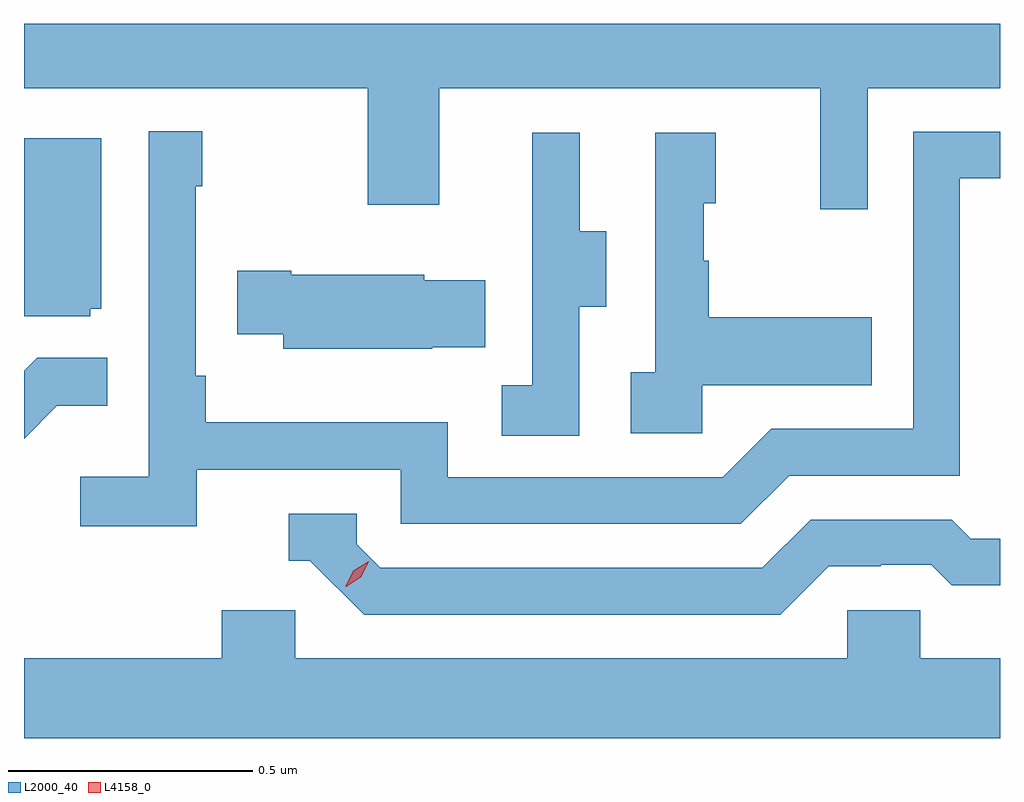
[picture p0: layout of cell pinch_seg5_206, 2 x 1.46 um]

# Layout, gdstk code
import gdstk
lib = gdstk.Library(unit=1e-6, precision=1e-09)
def P(c, l, *ps):  # polygons
    for p in ps: c.add(gdstk.Polygon(p, *l))
L2000_40 = (2000, 40)
L4158_0 = (4158, 0)

pinch_seg5_206 = lib.new_cell('pinch_seg5_206')
P(pinch_seg5_206, L2000_40, [(990.249,915.368),(990.52,915.368),(990.52,915.5),(988.52,915.5),(988.52,915.368),(989.224,915.368),(989.224,915.129),(989.371,915.129),(989.371,915.368),(990.152,915.368),(990.152,915.12),(990.249,915.12)],
  [(988.874,914.586),(989.292,914.586),(989.292,914.475),(989.989,914.475),(990.088,914.574),(990.438,914.574),(990.438,915.183),(990.52,915.183),(990.52,915.279),(990.342,915.279),(990.342,914.67),(990.051,914.67),(989.952,914.571),(989.388,914.571),(989.388,914.683),(988.892,914.683),(988.892,914.779),(988.872,914.779),(988.872,915.167),(988.885,915.167),(988.885,915.28),(988.776,915.28),(988.776,914.572),(988.635,914.572),(988.635,914.47),(988.874,914.47)],
  [(989.658,914.92),(989.713,914.92),(989.713,915.075),(989.659,915.075),(989.659,915.277),(989.561,915.277),(989.561,915.063),(989.562,915.063),(989.562,914.759),(989.499,914.759),(989.499,914.656),(989.658,914.656)],
  [(989.91,914.759),(990.257,914.759),(990.257,914.899),(989.923,914.899),(989.923,915.014),(989.913,915.014),(989.913,915.132),(989.938,915.132),(989.938,915.277),(989.814,915.277),(989.814,914.786),(989.763,914.786),(989.763,914.661),(989.91,914.661)],
  [(988.656,914.916),(988.678,914.916),(988.678,915.265),(988.52,915.265),(988.52,914.901),(988.656,914.901)],
  [(989.357,914.837),(989.465,914.837),(989.465,914.974),(989.34,914.974),(989.34,914.986),(989.068,914.986),(989.068,914.994),(988.957,914.994),(988.957,914.864),(989.051,914.864),(989.051,914.834),(989.357,914.834)],
  [(988.587,914.717),(988.691,914.717),(988.691,914.816),(988.547,914.816),(988.52,914.789),(988.52,914.65)],
  [(990.169,914.388),(990.276,914.388),(990.276,914.391),(990.379,914.391),(990.421,914.349),(990.52,914.349),(990.52,914.445),(990.46,914.445),(990.421,914.484),(990.132,914.484),(990.033,914.385),(989.25,914.385),(989.202,914.433),(989.202,914.496),(989.063,914.496),(989.063,914.4),(989.106,914.4),(989.217,914.289),(990.07,914.289)],
  [(990.52,914.2),(990.357,914.2),(990.357,914.298),(990.207,914.298),(990.207,914.2),(989.076,914.2),(989.076,914.298),(988.925,914.298),(988.925,914.2),(988.52,914.2),(988.52,914.036),(990.52,914.036)])
P(pinch_seg5_206, L4158_0, [(989.179,914.346),(989.179,914.347),(989.195,914.379),(989.226,914.399),(989.226,914.399),(989.226,914.398),(989.21,914.366),(989.18,914.346)])

lib.write_gds('pinch_seg5_206.gds')
